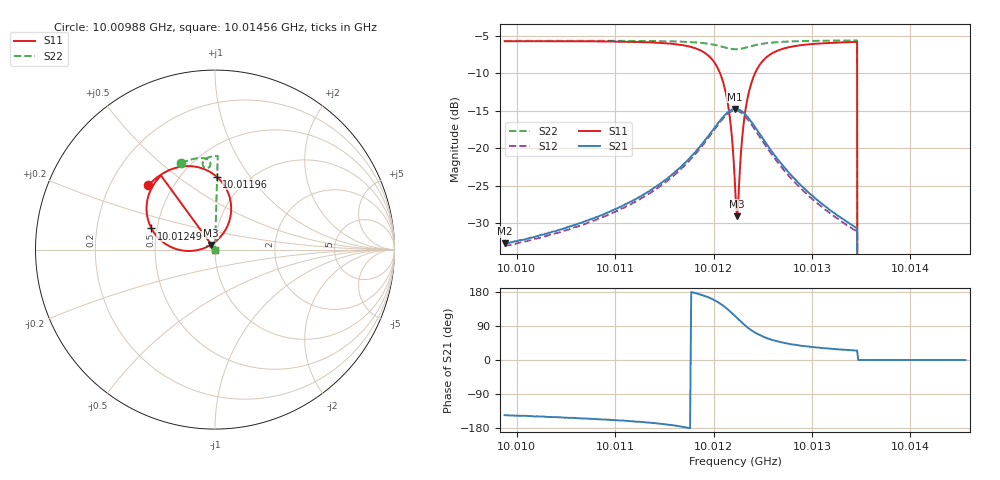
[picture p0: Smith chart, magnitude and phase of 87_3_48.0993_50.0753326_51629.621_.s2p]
#  HZ  S  RI  R  50.00
! Rohde & Schwarz Vector Network Analyzer
! Rohde-Schwarz,ZNB20-2Port,1311601062101988,3.16
! Created: UTC 12/23/2023, 3:43:23 AM
! freq[Hz]  re:S11  im:S11  re:S21  im:S21  re:S12  im:S12  re:S22  im:S22
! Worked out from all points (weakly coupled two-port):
!   401 points, 10.00988 GHz to 10.01456 GHz, reference 50 ohm
!   highest |S21| = -14.77 dB at 10.01222 GHz (marker M1); lowest = -32.7 dB at 10.00988 GHz (marker M2)
!   lowest |S11| = -29.1 dB at 10.01224 GHz (marker M3), VSWR 1.07, Z = 47.6 + j2.49 ohm
!   |S11| at or under -10 dB: 10.01207 GHz to 10.01242 GHz (356.6 kHz wide, 0.00356 % of centre); 10.01346 GHz to end of sweep
!   |S22| runs from - to -5.6 dB; largest |S21 - S12| = 0.0087
!   S11 on the Smith chart (normalised r, x): 10.00988 GHz: 0.37, +0.36; 10.01196 GHz: 0.73, +0.71; 10.01249 GHz: 0.47, +0.13; 10.01456 GHz: 1.00, +0.00
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1.0009877e10  -0.3719 0.3576  -0.0191 -0.0131  -0.0178 -0.0133  -0.189 0.4829
1.0010661e10  -0.3162 0.407  -0.0286 -0.0138  -0.0271 -0.0148  -0.1387 0.5002
1.0011445e10  -0.2104 0.4576  -0.0559 -0.0121  -0.0531 -0.0145  -0.0813 0.51
1.0011785e10  -0.0974 0.4596  -0.0896 0.00226  -0.0866 -0.00229  -0.0498 0.506
1.001196e10  0.00924 0.4061  -0.119 0.034  -0.1172 0.0269  -0.0314 0.4936
1.0012054e10  0.071 0.3214  -0.1305 0.0723  -0.1309 0.0638  -0.0253 0.4799
1.0012124e10  0.0899 0.216  -0.1256 0.1125  -0.1272 0.1049  -0.0271 0.4664
1.0012171e10  0.0698 0.1318  -0.1084 0.1417  -0.1118 0.1338  -0.0334 0.4585
1.0012218e10  0.0149 0.0552  -0.0795 0.1644  -0.0835 0.1575  -0.0431 0.4541
1.0012229e10  -0.00336 0.0398  -0.071 0.168  -0.0753 0.1614  -0.0458 0.4538
1.0012241e10  -0.0234 0.0262  -0.0622 0.1711  -0.0662 0.1645  -0.0484 0.4538
1.0012253e10  -0.0444 0.0149  -0.0535 0.1731  -0.0578 0.1666  -0.0511 0.4541
1.00123e10  -0.1342 -0.00744  -0.0184 0.1724  -0.0225 0.1665  -0.0608 0.4589
1.0012335e10  -0.1977 -0.00205  0.00527 0.1643  0.000597 0.1588  -0.0655 0.4648
1.0012393e10  -0.2811 0.035  0.0334 0.143  0.0274 0.1384  -0.0689 0.4755
1.0012487e10  -0.3538 0.1176  0.053 0.1069  0.0474 0.1037  -0.0658 0.4908
1.0012709e10  -0.3795 0.2611  0.0531 0.054  0.0482 0.0535  -0.0458 0.5095
1.0013002e10  -0.3493 0.3498  0.04 0.0272  0.0366 0.0275  -0.0198 0.5182
1.0013435e10  -0.303 0.41  0.0271 0.0127  0.0251 0.0134  0.0135 0.5217
1.0013493e10  0 0  0 0  0 0  0 0
1.0013786e10  0 0  0 0  0 0  0 0
1.0014558e10  0 0  0 0  0 0  0 0
